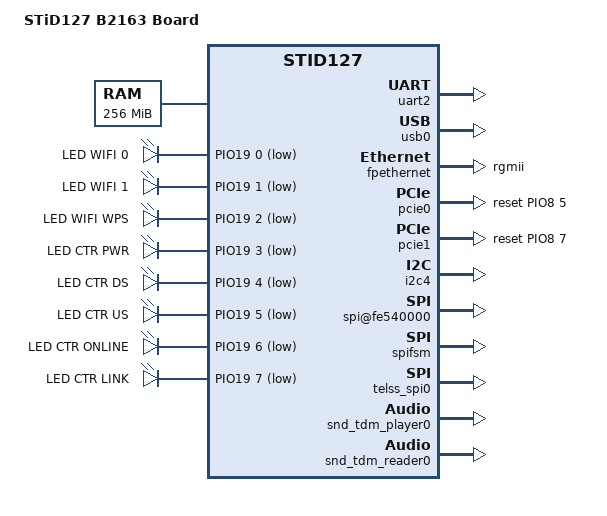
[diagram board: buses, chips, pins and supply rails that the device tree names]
/*
 * Copyright (C) 2014 STMicroelectronics Limited.
 * Author: Amelie Herault <amelie.herault@st.com>
 *
 * This program is free software; you can redistribute it and/or modify
 * it under the terms of the GNU General Public License version 2 as
 * publishhed by the Free Software Foundation.
 */
#include "stid127.dtsi"

/ {
	model = "STiD127 B2163 Board";
	compatible = "st,stid127-b2163", "st,stid127";

	memory {
		device_type = "memory";
		reg = <0x40000000 0x10000000>;
	};

	chosen {
		bootargs = "";
		linux,stdout-path = &uart2;
	};

	aliases {
		ttyAS0 = &uart2;
		usb0 = &usb0;
		if17 = &if17;
		if18 = &if18;
		if16 = &if16;
		if1 = &if1;
		if0 = &if0;
		ethernet0 = &ethernet0;
		i2c4 = &i2c4;
	};

	soc {
		uart2: serial@fe532000{
			status = "okay";
		};

		leds {
			compatible = "gpio-leds";
			led_wifi0 {
				label = "LED WIFI 0";
				gpios = <&PIO19 0 1>;
				default-state = "off";
			};
			led_wifi1 {
				label = "LED WIFI 1";
				gpios = <&PIO19 1 1>;
				default-state = "off";
			};
			led_wifi_wps {
				label = "LED WIFI WPS";
				gpios = <&PIO19 2 1>;
				default-state = "off";
			};
			led_ctr_pwr {
				label = "LED CTR PWR";
				gpios = <&PIO19 3 1>;
				default-state = "off";
			};
			led_ctr_ds {
				label = "LED CTR DS";
				gpios = <&PIO19 4 1>;
				default-state = "off";
			};
			led_ctr_us {
				label = "LED CTR US";
				gpios = <&PIO19 5 1>;
				default-state = "off";
			};
			led_ctr_online {
				label = "LED CTR ONLINE";
				gpios = <&PIO19 6 1>;
				default-state = "off";
			};
			led_ctr_link {
				label = "LED CTR LINK";
				gpios = <&PIO19 7 1>;
				default-state = "off";
			};
		};

		ethernet0: dwmac@feb00000 {
			/* can be enable for debug purpose, in this case,
			 * realtek switch must be disabled as common PIO
			 * are shared between dwmac and realtek switch */
			status = "disabled";
			st,tx-retime-src = "clkgen";
			max-speed = <100>;

			phy-mode = "rgmii";
			snps,phy-addr = <0x4>;
			snps,reset-gpio = <&PIO21 3 0>;
			snps,reset-active-low;
			snps,reset-delays-us = <0 2000000 1000000>;
		};

		usb0: usb@fe800000{
			status = "okay";
		};

		rtl8367rb {
			compatible = "realtek,rtl8367rb";
			status = "okay";

			/* M1M connected to stid127 RGMII0_FP */
			rtl8367rb,extif1;
			rtl8367rb,extif1-mode = <1>;    // RGMII
			rtl8367rb,extif1-txdelay = <1>;
			rtl8367rb,extif1-rxdelay = <1>;
			rtl8367rb,extif1-force_mode = <1>;
			rtl8367rb,extif1-txpause = <1>;
			rtl8367rb,extif1-rxpause = <1>;
			rtl8367rb,extif1-link = <1>;
			rtl8367rb,extif1-duplex = <1>;
			rtl8367rb,extif1-speed = <2>;

			/* M2M connected to stih410 RGMII1 */
			rtl8367rb,extif2;
			rtl8367rb,extif2-mode = <1>;    // RGMII
			rtl8367rb,extif2-txdelay = <0>;
			rtl8367rb,extif2-rxdelay = <1>;
			rtl8367rb,extif2-force_mode = <1>;
			rtl8367rb,extif2-txpause = <1>;
			rtl8367rb,extif2-rxpause = <1>;
			rtl8367rb,extif2-link = <1>;
			rtl8367rb,extif2-duplex = <1>;
			rtl8367rb,extif2-speed = <2>;
		};

		fpethernet:stmfp@fee80000 {
			status = "okay";
			phy-mode = "rgmii";
			pinctrl-names = "default";
			pinctrl-0 = <&pinctrl_b2163_fp0>, <&pinctrl_b2163_fp1>;

			fpdocsis {
				st,phy-bus-name = "fixed";
				fixed-link = <1 1000 0 0>;
				st,phy-bus-id = <0>;
				st,phy-addr = <2>;
			};

			fpgige0 {
				st,phy-bus-name = "fixed";
				fixed-link = <1 1000 0 0>;
				st,phy-bus-id = <0>;
				st,phy-addr = <3>;
			};

			fpgige1 {
				st,phy-bus-name = "fixed";
				fixed-link = <1 1000 0 0>;
				st,phy-bus-id = <0>;
				st,phy-addr = <1>;
			};
		};

		/* Intended for RTL8192ER */
		pcie0: pcie@fef20000 {
			status = "okay";
			reset-gpio = <&PIO8 5 0>;
		};

		/* Intended for Quantenna module */
		pcie1: pcie@fef30000 {
			status = "okay";
			reset-gpio = <&PIO8 7 0>;
		};

		/* Intended for MoCA */
		i2c4: i2c@fe544000 {
			status = "okay";
		};

		spi@fe540000 {
			status = "okay";
		};

		spifsm:	spifsm@fe302000{
			status = "okay";
			flash-name = "n25q512";
			partitions = <&b2163_fsm_partitions>;

			b2163_fsm_partitions: partitions-b2163 {
				#address-cells = <1>;
				#size-cells = <1>;
				partition@0 {
                                        label = "boot";
                                        reg = <0x00000000 0x01A00000>;	/* 26 MB */
                                };
                                partition@1a00000{
                                        label = "nvm";
                                        reg = <0x01A00000 0x00100000>;	/* 1 MB */
                                };
                                partition@1b00000{
                                        label = "rest";			/* presently unused */
                                        reg = <0x01B00000 0x02500000>;
                                };
			};
		};

		if17:queue_3 {
			status = "okay";
		};

		if18:queue_4 {
			status = "okay";
		};

		if6:queue_5 {
			status = "okay";
		};

		if1:queue_7 {
			status = "okay";
		};

		if0:queue_0 {
			status = "okay";
		};

		telss_spi0: telss-spi0{
			status = "okay";
		};

		snd_tdm_player0: snd-uni-tdm@0xfeba4000 {
			status = "okay";
		};

		snd_tdm_reader0: snd-uni-tdm@0xfeba5000 {
			status = "okay";
		};
	};
};

